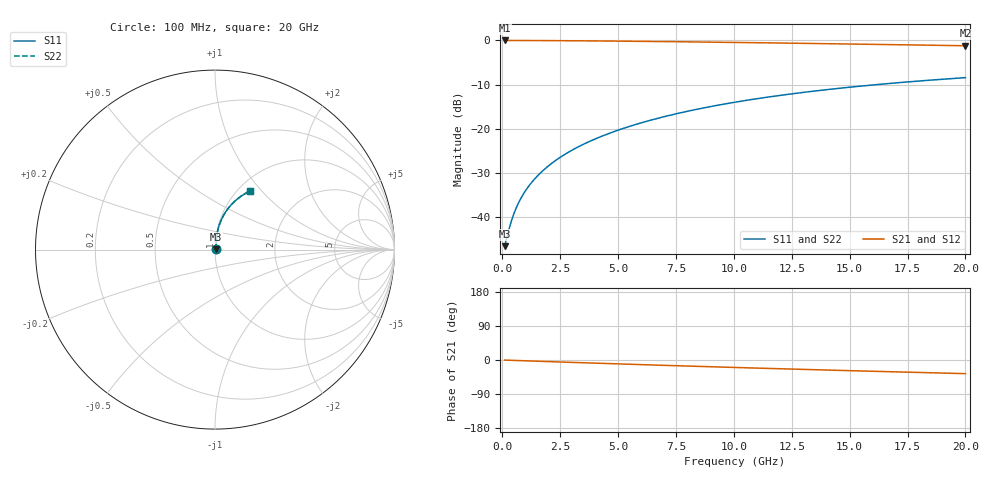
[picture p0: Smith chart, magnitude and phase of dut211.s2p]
! Touchstone file exported from HFSS 2024.1.0
!  File:  C:/UserFiles/LocalFiles/RDL_TSV_Batchsim/temp_RDL_top_211_1778687352.aedt
!  Generated:  11:51:40 PM May 13, 2026
!  Design:  RDL_top
!  Project:  temp_RDL_top_211_1778687352
!  Setup:  Setup1
!  Solution:  Sweep
! Variables:
!  dtsv = 10.80580581um
!  hbump = 3um
!  htsv = 62.19um
!  ldown = 100um
!  lrdl = 454.77um
!  p = 40
!  p1 = 53.48um
!  rhole = 1um
!  t = 450um
!  tdown = 3.915915916um
!  trdl = 2.02um
!  wdown = 15.38538539um
!  wrdl = 20.42um
# GHz S MA R 50.000000
! Terminal data exported
! Port[1] = Box2_T1
! Port[2] = Box2_T2
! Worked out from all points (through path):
!   200 points, 100 MHz to 20 GHz, reference 50 ohm
!   highest |S21| = -0.04 dB at 100 MHz (marker M1); lowest = -1.2 dB at 20 GHz (marker M2)
!   group delay of S21, straight-line fit = 4.98 ps
!   lowest |S11| = -46.6 dB at 100 MHz (marker M3), VSWR 1.01, Z = 50.4 + j0.204 ohm
!   |S11| at or under -10 dB: start of sweep to 16.21 GHz
!   |S22| runs from -46.6 to -8.4 dB; largest |S21 - S12| = 2.4e-15
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0.1  0.004698 25.5  0.9958 -0.2  0.9958 -0.2  0.004698 25.5
! Gamma 0 0 0 0
! Port Impedance 50 0 50 0
0.3  0.007463 53.7  0.9955 -0.7  0.9955 -0.7  0.007463 53.7
0.4  0.009167 60.2  0.9954 -0.9  0.9954 -0.9  0.009167 60.2
0.5  0.01093 64.6  0.9952 -1.1  0.9952 -1.1  0.01093 64.6
0.6  0.01271 67.7  0.995 -1.3  0.995 -1.3  0.01271 67.7
0.7  0.01449 70.0  0.9948 -1.5  0.9948 -1.5  0.01449 70.0
0.9  0.01807 73.3  0.9944 -1.9  0.9944 -1.9  0.01807 73.3
1.2  0.02347 76.4  0.9938 -2.6  0.9938 -2.6  0.02347 76.4
1.4  0.02709 77.8  0.9933 -3.0  0.9933 -3.0  0.02709 77.8
1.7  0.03257 79.4  0.9926 -3.6  0.9926 -3.6  0.03257 79.4
2.2  0.04184 81.0  0.9912 -4.6  0.9912 -4.6  0.04184 81.0
2.8  0.05315 82.0  0.9892 -5.9  0.9892 -5.9  0.05315 82.0
3.5  0.06662 82.5  0.9864 -7.3  0.9864 -7.3  0.06662 82.5
4.2  0.08034 82.6  0.9832 -8.7  0.9832 -8.7  0.08034 82.6
5  0.0963 82.2  0.979 -10.3  0.979 -10.3  0.0963 82.2
5.9  0.1145 81.5  0.9739 -12.1  0.9739 -12.1  0.1145 81.5
6.8  0.133 80.5  0.9683 -13.8  0.9683 -13.8  0.133 80.5
8.4  0.1659 78.3  0.9577 -16.8  0.9577 -16.8  0.1659 78.3
10.1  0.2005 75.7  0.9457 -19.8  0.9457 -19.8  0.2005 75.7
13.4  0.2652 70.1  0.9207 -25.5  0.9207 -25.5  0.2652 70.1
16.7  0.3247 64.6  0.8944 -30.9  0.8944 -30.9  0.3247 64.6
20  0.3782 59.3  0.8675 -36.0  0.8675 -36.0  0.3782 59.3
